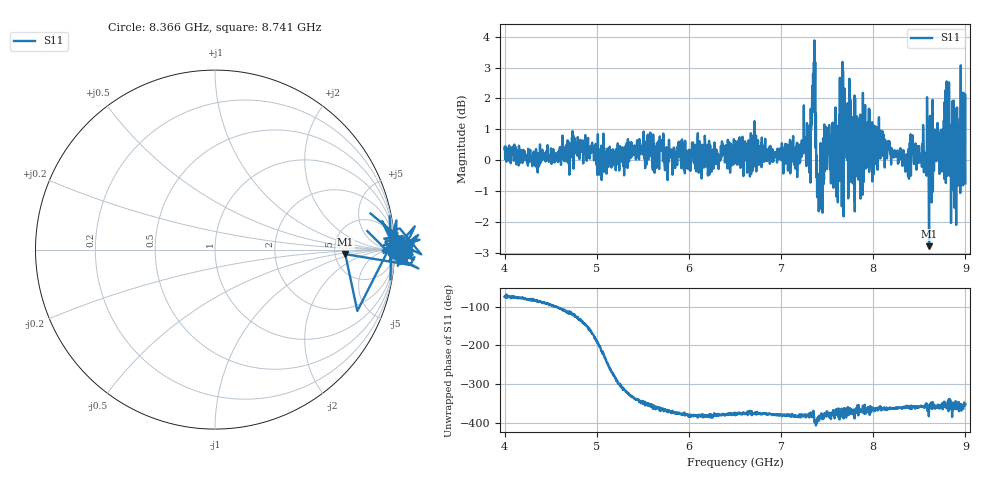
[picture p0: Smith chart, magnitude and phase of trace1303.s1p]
! Created with skrf 1.8.0 (http://scikit-rf.org).
# Hz S RI R 50.0
!freq ReS11 ImS11
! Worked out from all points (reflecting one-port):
!   1601 points, 4 GHz to 9 GHz, reference 50 ohm
!   lowest |S11| = -2.8 dB at 8.606 GHz (marker M1), VSWR 6.31, Z = 312 - j33.1 ohm
!   phase of S11 starts at -74 deg and turns -279 deg over the sweep
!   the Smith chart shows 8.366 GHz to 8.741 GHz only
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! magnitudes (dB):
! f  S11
! 4 GHz  0.4
! 4.625 GHz  0.6
! 5.25 GHz  0.5
! 5.875 GHz  -0.1
! 6.5 GHz  0.3
! 7.125 GHz  0.3
! 7.294 GHz  0.1
! 7.319 GHz  -0.7
! 7.347 GHz  2.8
! 7.362 GHz  3.9
! 7.4 GHz  -1.2
! 7.409 GHz  -1.6
! 7.512 GHz  0.6
! 7.591 GHz  1.7
! 7.65 GHz  1.4
! 7.75 GHz  0.4
! 7.784 GHz  -0.1
! 7.822 GHz  1.0
! 7.875 GHz  0.0
! 7.928 GHz  0.7
! 8.375 GHz  0.0
! 8.606 GHz  -2.8
! 8.725 GHz  0.1
! 8.8 GHz  0.2
! 8.856 GHz  1.0
! 8.956 GHz  0.2
! 8.972 GHz  0.9
! 9 GHz  -0.7
